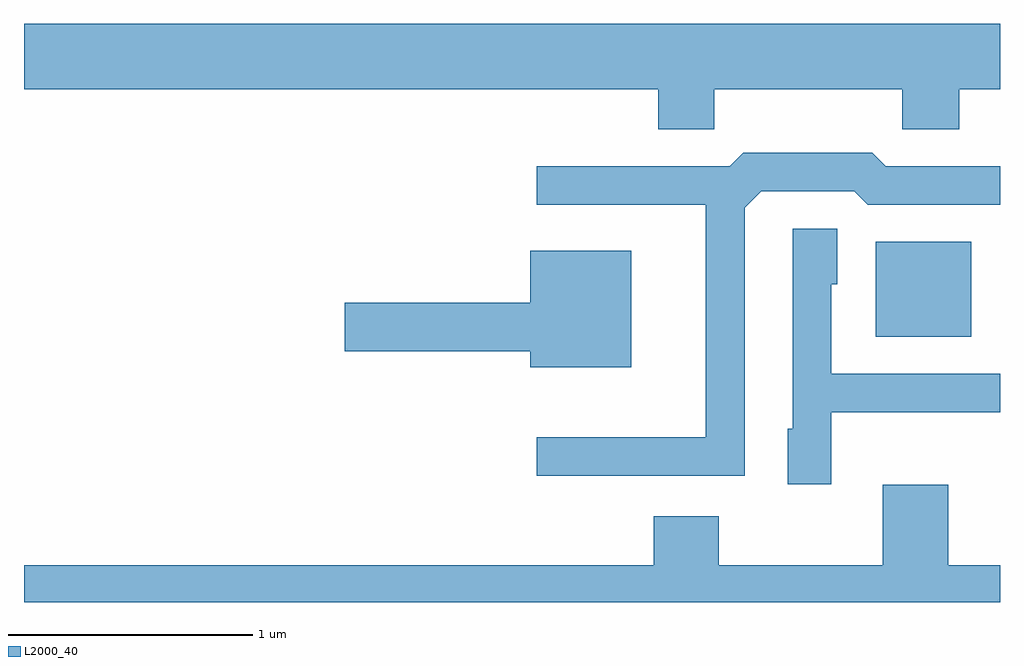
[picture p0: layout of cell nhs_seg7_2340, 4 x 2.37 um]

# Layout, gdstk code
import gdstk
lib = gdstk.Library(unit=1e-6, precision=1e-09)
def R(c, l, rs):  # rectangles x0, y0, x1, y1
    for r in rs: c.add(gdstk.rectangle(r[:2], r[2:], *l))
def P(c, l, *ps):  # polygons
    for p in ps: c.add(gdstk.Polygon(p, *l))
L2000_40 = (2000, 40)

nhs_seg7_2340 = lib.new_cell('nhs_seg7_2340')
R(nhs_seg7_2340, L2000_40, [(261.101,1673.341,261.494,1673.729)])
P(nhs_seg7_2340, L2000_40, [(260.439,1674.356),(261.211,1674.356),(261.211,1674.191),(261.444,1674.191),(261.444,1674.356),(261.611,1674.356),(261.611,1674.624),(257.611,1674.624),(257.611,1674.356),(260.211,1674.356),(260.211,1674.191),(260.439,1674.191)],
  [(260.564,1673.869),(260.632,1673.936),(261.014,1673.936),(261.069,1673.881),(261.611,1673.881),(261.611,1674.039),(261.142,1674.039),(261.087,1674.094),(260.558,1674.094),(260.504,1674.039),(259.712,1674.039),(259.712,1673.881),(260.406,1673.881),(260.406,1672.929),(259.712,1672.929),(259.712,1672.771),(260.564,1672.771)],
  [(260.919,1673.031),(261.611,1673.031),(261.611,1673.189),(260.919,1673.189),(260.919,1673.556),(260.944,1673.556),(260.944,1673.784),(260.761,1673.784),(260.761,1672.964),(260.741,1672.964),(260.741,1672.736),(260.919,1672.736)],
  [(260.099,1673.694),(259.686,1673.694),(259.686,1673.479),(258.926,1673.479),(258.926,1673.281),(259.686,1673.281),(259.686,1673.216),(260.099,1673.216)],
  [(261.611,1672.404),(261.399,1672.404),(261.399,1672.734),(261.131,1672.734),(261.131,1672.404),(260.459,1672.404),(260.459,1672.604),(260.191,1672.604),(260.191,1672.404),(257.611,1672.404),(257.611,1672.252),(261.611,1672.252)])

lib.write_gds('nhs_seg7_2340.gds')
